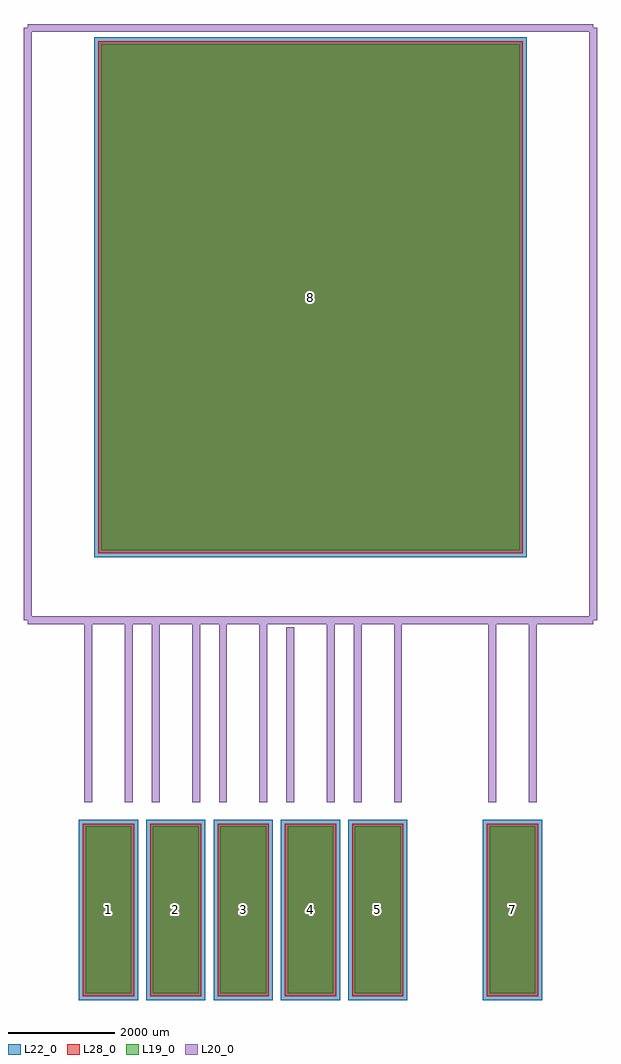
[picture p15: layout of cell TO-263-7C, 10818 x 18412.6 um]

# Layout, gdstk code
import gdstk
lib = gdstk.Library(unit=1e-6, precision=1e-09)
def R(c, l, rs):  # rectangles x0, y0, x1, y1
    for r in rs: c.add(gdstk.rectangle(r[:2], r[2:], *l))
def A(c, l, x, y, w, h, nx, ny, dx, dy):  # array of equal rectangles
    R(c, l, [(x+i*dx, y+j*dy, x+i*dx+w, y+j*dy+h) for i in range(nx) for j in range(ny)])
L19_0 = (19, 0)
L20_0 = (20, 0)
L22_0 = (22, 0)
L28_0 = (28, 0)

to_263_7c = lib.new_cell('TO-263-7C')
A(to_263_7c, L19_0, -4242.6, -1575.6, 865.2, 3151.2, 5, 1, 1270, 0)
R(to_263_7c, L19_0, [(3377.4,-1575.6,4242.6,1575.6), (-3950.5,6781,3950.5,16333)])
A(to_263_7c, L22_0, -4367.6, -1700.6, 1115.2, 3401.2, 5, 1, 1270, 0)
R(to_263_7c, L22_0, [(3252.4,-1700.6,4367.6,1700.6), (-4075.5,6656,4075.5,16458)])
A(to_263_7c, L28_0, -4292.6, -1625.6, 965.2, 3251.2, 5, 1, 1270, 0)
R(to_263_7c, L28_0, [(3327.4,-1625.6,4292.6,1625.6), (-4000.5,6731,4000.5,16383)])
to_263_7c.add(gdstk.FlexPath([(0,5461),(5334,5461)], 149.998, ends="flush", simple_path=True, layer=20, datatype=0))  # L20_0
to_263_7c.add(gdstk.FlexPath([(0,5461),(-5334,5461)], 149.998, ends="flush", simple_path=True, layer=20, datatype=0))  # L20_0
to_263_7c.add(gdstk.FlexPath([(5334,5461),(5334,15621)], 149.998, ends="flush", simple_path=True, layer=20, datatype=0))  # L20_0
to_263_7c.add(gdstk.FlexPath([(-5334,5461),(-5334,15621)], 149.998, ends="flush", simple_path=True, layer=20, datatype=0))  # L20_0
to_263_7c.add(gdstk.FlexPath([(-4191,2032),(-4191,5461)], 149.998, ends="flush", simple_path=True, layer=20, datatype=0))  # L20_0
to_263_7c.add(gdstk.FlexPath([(-3429,2032),(-3429,5461)], 149.998, ends="flush", simple_path=True, layer=20, datatype=0))  # L20_0
to_263_7c.add(gdstk.FlexPath([(-2159,2032),(-2159,5461)], 149.998, ends="flush", simple_path=True, layer=20, datatype=0))  # L20_0
to_263_7c.add(gdstk.FlexPath([(-2921,2032),(-2921,5461)], 149.998, ends="flush", simple_path=True, layer=20, datatype=0))  # L20_0
to_263_7c.add(gdstk.FlexPath([(-1651,2032),(-1651,5461)], 149.998, ends="flush", simple_path=True, layer=20, datatype=0))  # L20_0
to_263_7c.add(gdstk.FlexPath([(-889,2032),(-889,5461)], 149.998, ends="flush", simple_path=True, layer=20, datatype=0))  # L20_0
to_263_7c.add(gdstk.FlexPath([(-381,2032),(-381,5334)], 149.998, ends="flush", simple_path=True, layer=20, datatype=0))  # L20_0
to_263_7c.add(gdstk.FlexPath([(381,2032),(381,5461)], 149.998, ends="flush", simple_path=True, layer=20, datatype=0))  # L20_0
to_263_7c.add(gdstk.FlexPath([(889,2032),(889,5461)], 149.998, ends="flush", simple_path=True, layer=20, datatype=0))  # L20_0
to_263_7c.add(gdstk.FlexPath([(1651,2032),(1651,5461)], 149.998, ends="flush", simple_path=True, layer=20, datatype=0))  # L20_0
to_263_7c.add(gdstk.FlexPath([(3429,2032),(3429,5461)], 149.998, ends="flush", simple_path=True, layer=20, datatype=0))  # L20_0
to_263_7c.add(gdstk.FlexPath([(4191,2032),(4191,5461)], 149.998, ends="flush", simple_path=True, layer=20, datatype=0))  # L20_0
to_263_7c.add(gdstk.FlexPath([(5334,16637),(5334,15621)], 149.998, ends="flush", simple_path=True, layer=20, datatype=0))  # L20_0
to_263_7c.add(gdstk.FlexPath([(-5334,16637),(5334,16637)], 149.998, ends="flush", simple_path=True, layer=20, datatype=0))  # L20_0
to_263_7c.add(gdstk.FlexPath([(-5334,16637),(-5334,15621)], 149.998, ends="flush", simple_path=True, layer=20, datatype=0))  # L20_0
to_263_7c.add(gdstk.Label('8', (0,11557), layer=28, texttype=0))
to_263_7c.add(gdstk.Label('7', (3810,0), layer=28, texttype=0))
to_263_7c.add(gdstk.Label('5', (1270,0), layer=28, texttype=0))
to_263_7c.add(gdstk.Label('1', (-3810,0), layer=28, texttype=0))
to_263_7c.add(gdstk.Label('2', (-2540,0), layer=28, texttype=0))
to_263_7c.add(gdstk.Label('3', (-1270,0), layer=28, texttype=0))
to_263_7c.add(gdstk.Label('4', (0,0), layer=28, texttype=0))
to_263_7c.add(gdstk.Label('type', (127,19812), layer=9, texttype=0))
to_263_7c.add(gdstk.Label('devicename', (0,17780), layer=9, texttype=0))

lib.write_gds('TO-263-7C.gds')
